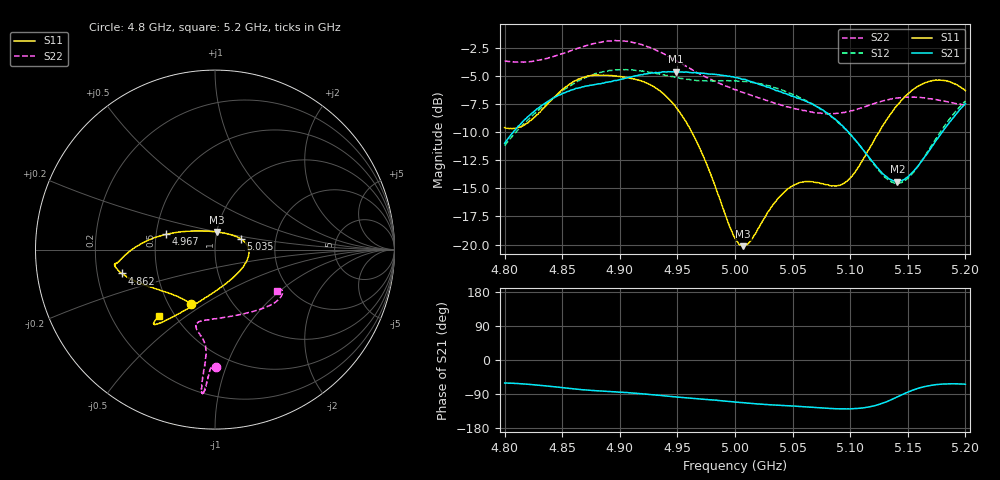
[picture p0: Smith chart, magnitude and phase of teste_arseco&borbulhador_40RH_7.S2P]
! Network Analyzer HP8722D
! Hewlett-Packard
! Data name: Linha & Wilkinson
! Saver's name: Rodrigo Anjos
! Comments: Teste da utilização de aquisição
! continua pelo VNA HP8722D
! Time and date: 15/4/2025 16:24
!  Frequency  S11  S21  S12  S22
# HZ  S  MA R 50
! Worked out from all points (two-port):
!   401 points, 4.8 GHz to 5.2 GHz, reference 50 ohm
!   highest |S21| = -4.64 dB at 4.949 GHz (marker M1); lowest = -14.4 dB at 5.141 GHz (marker M2)
!   |S21| within 3 dB of the highest: 4.832 GHz to 5.069 GHz (237 MHz wide, 4.79 % of centre); 5.198526 GHz to end of sweep
!   lowest |S11| = -20.1 dB at 5.007 GHz (marker M3), VSWR 1.22, Z = 50.1 + j9.9 ohm
!   |S11| at or under -10 dB: 4.962 GHz to 5.125 GHz (162.6 MHz wide, 3.22 % of centre)
!   |S22| runs from -8.4 to -1.9 dB; largest |S21 - S12| = 0.88
!   S11 on the Smith chart (normalised r, x): 4.8 GHz: 0.65, -0.44; 4.862 GHz: 0.31, -0.11; 4.967 GHz: 0.57, +0.10; 5.035 GHz: 1.32, +0.16; 5.2 GHz: 0.41, -0.40
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4.8e9  0.3307 -113.8  0.2818 -60.8  0.275 -175.1  0.6532 -89.4
4.819e9  0.3446 -133.5  0.3643 -63.8  0.3527 -173.4  0.6483 -91.1
4.862e9  0.536 -165.6  0.4944 -76.6  0.5264 -176.4  0.7388 -93.5
4.867e9  0.5493 -167.5  0.5007 -78.2  0.5427 -177.4  0.7549 -93.8
4.9e9  0.558 -172.1  0.5397 -84.8  0.5977 175.9  0.8038 -95.0
4.934e9  0.4853 -178.0  0.5814 -93.3  0.5728 172.0  0.72 -95.6
4.949e9  0.4061 174.9  0.5863 -97.4  0.5531 172.2  0.6565 -95.2
4.967e9  0.2849 162.6  0.5776 -102.0  0.5342 174.0  0.5798 -94.9
5e9  0.1069 107.1  0.5529 -110.8  0.5336 176.4  0.4865 -99.3
5.007e9  0.09841 83.6  0.5424 -112.4  0.5302 176.4  0.4733 -100.9
5.013e9  0.1031 64.6  0.5311 -114.3  0.5255 176.2  0.462 -102.2
5.035e9  0.1547 23.1  0.4844 -119.0  0.4963 175.2  0.424 -103.7
5.05e9  0.1823 7.1  0.4567 -121.5  0.4641 174.4  0.4036 -100.3
5.067e9  0.1902 -11.1  0.4211 -124.6  0.4223 174.1  0.388 -91.8
5.086e9  0.1822 -41.6  0.3634 -128.3  0.3619 173.6  0.3818 -77.7
5.097e9  0.1908 -64.7  0.3217 -129.1  0.321 174.1  0.388 -68.5
5.134e9  0.3733 -116.0  0.1957 -106.9  0.1924 -159.7  0.4413 -43.4
5.141e9  0.4167 -120.1  0.1905 -97.1  0.187 -148.9  0.4474 -40.2
5.152e9  0.4755 -124.4  0.2046 -82.2  0.2009 -131.4  0.4514 -36.2
5.17e9  0.5325 -128.5  0.2675 -67.0  0.2723 -113.0  0.4443 -32.1
5.184e9  0.5322 -129.8  0.3375 -63.0  0.3487 -107.2  0.4314 -31.1
5.2e9  0.4827 -130.4  0.4221 -64.0  0.4336 -106.0  0.4153 -33.4
